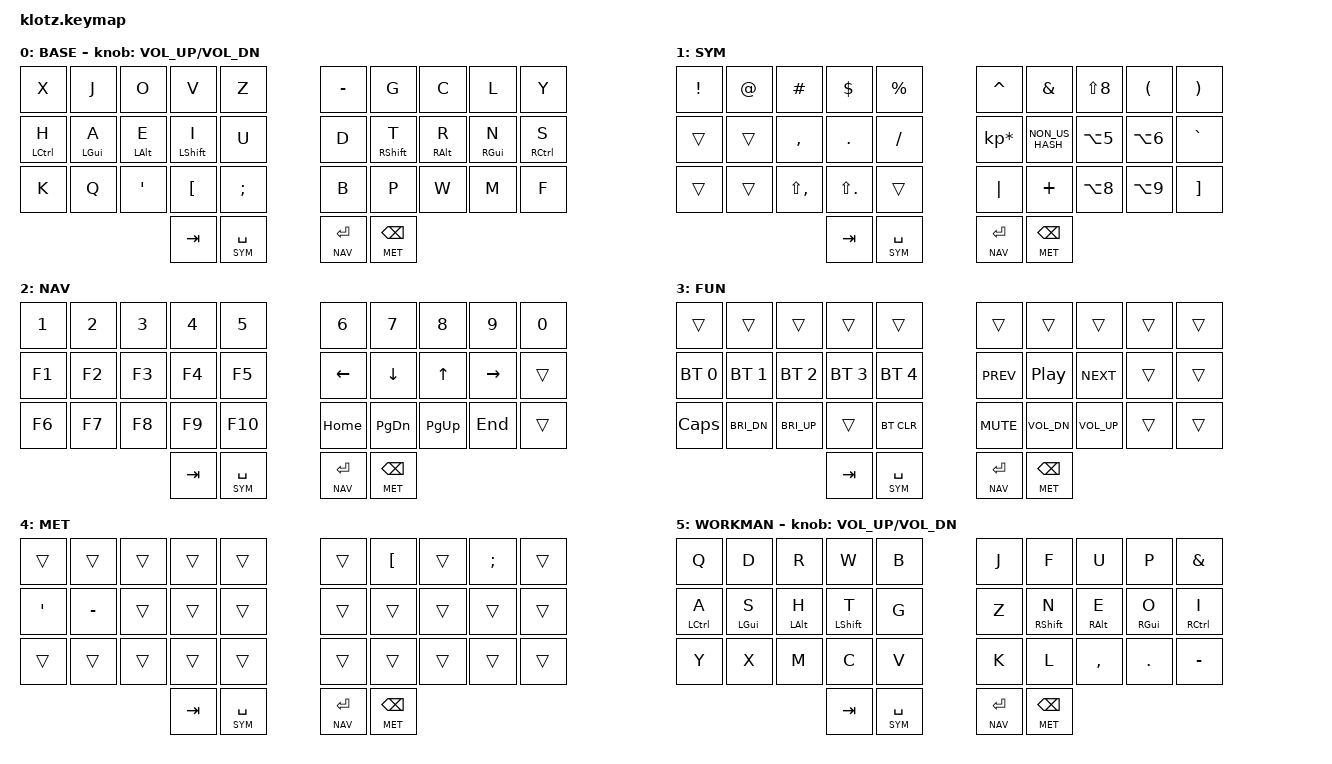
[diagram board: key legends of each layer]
//                                      █         ██        ▄▀▀▀▀▀▀▀▀▀▀█▀▀▀▀▀▀▀▀█▀▀▀▀▀▀▀▀▀▀█
//                                      █        █ █      ▄▀            ▀▄      █         █
//                                      █       █  █    ▄▀                ▀▄    █        █
//                                      █      █   █   █                    █   █       █
//                                      █     █    █   █                    █   █      █
//                                      █    █     █   █                    █   █  ▀▀▀█▀▀▀▀
//                                      █   █ █    █   █                    █   █    █
//                                      █  █   █   █   █                    █   █   █
//                                      █ █     █  █    ▀▄                ▄▀    █  █
//                                      ██       █ █      ▀▄            ▄▀      █ █
//                                      █         ██▄▄▄▄▄▄▄▄█▄▄▄▄▄▄▄▄▄▄▀        ██▄▄▄▄▄▄▄▄▄▄
//
// ▄▄▄▄▄▄▄▄▄▄▄▄▄▄▄▄▄▄▄▄▄▄▄▄▄▄▄▄▄▄▄▄▄▄▄▄▄▄▄▄▄▄▄▄▄▄▄▄▄▄▄▄▄▄▄▄▄▄▄▄▄▄▄▄▄▄▄▄▄▄▄▄▄▄▄▄▄▄▄▄▄▄▄▄▄▄▄▄▄▄▄▄▄▄▄▄▄▄▄▄▄▄▄▄▄▄▄▄▄▄▄▄▄▄▄▄▄▄▄▄▄▄▄▄▄
       

#include <behaviors.dtsi>
#include <dt-bindings/zmk/keys.h>
#include <dt-bindings/zmk/bt.h>
#include <dt-bindings/zmk/outputs.h>

#define DEF 0
#define SYM 1
#define NAV 2
#define FUN 3
#define MET 4
#define WORKMAN 5

//&mt {
//  quick-tap-ms = <100>;
//  global-quick-tap;
//  flavor = "tap-preferred";
//  tapping-term-ms = <170>;
//};
&mt {
    flavor = "hold-preferred";
    tapping-term-ms = <150>;
};

&lt {
    flavor = "balanced";
    tapping-term-ms = <150>;
};

/ {
    behaviors {
        am: alpha_mods {
            compatible = "zmk,behavior-hold-tap";
            label = "ALPHA_MT";
            #binding-cells = <2>;
            tapping-term-ms = <200>;
            quick-tap-ms = <150>;
            flavor = "balanced";
            bindings = <&kp>, <&kp>;
        };
        as: alpha_shift {
            compatible = "zmk,behavior-hold-tap";
            label = "ALPHA_SFT";
            #binding-cells = <2>;
            tapping-term-ms = <200>;
            quick-tap-ms = <150>;
            flavor = "balanced";
            bindings = <&kp>, <&kp>;
        };

        // Easy alt-tab with alt+backspace thumb using mod-morphs
        bstab: backspace_tab {
            compatible = "zmk,behavior-mod-morph";
            label = "BSPC_TAB";
            #binding-cells = <0>;
            bindings = <&kp BSPC>, <&kp TAB>;
            mods = <LALT>;
        };
        lt_bspc: layer_tap_backspace_tab {
            compatible = "zmk,behavior-hold-tap";
            label = "LT_BT";
            #binding-cells = <2>;
            tapping-term-ms = <150>;
            flavor = "balanced";
            bindings = <&mo>, <&bstab>;
        };
    };

    cond_layers {
        compatible = "zmk,conditional-layers";
        // Define FUN layer as tri-state
        func_tristate {
            if-layers = <NAV SYM>;
            then-layer = <FUN>;
        };
    };

    macros {
        ZMK_MACRO(inv_qm,
            wait-ms = <10>;
            tap-ms = <10>;
            bindings
                = <&macro_press &kp LALT>
                , <&macro_tap &kp KP_N1 &kp KP_N6 &kp KP_N8>
                , <&macro_release &kp LALT>;
        )
    };
     combos {
        compatible = "zmk,combos";
        combo_esc {
            timeout-ms = <40>;
            key-positions = <1 2>;
            bindings = <&kp ESC>;
        };
        combo_dot {
            timeout-ms = <40>;
            key-positions = <12 13>;
            bindings = <&kp DOT>;
        };
        combo_comma {
            timeout-ms = <40>;
            key-positions = <11 12>;
            bindings = <&kp COMMA>;
        };
        
    };
   

        keymap {
                compatible = "zmk,keymap";
// ▄▄▄▄▄▄▄▄▄▄▄▄▄▄▄▄▄▄▄▄▄▄▄▄▄▄▄▄▄▄▄▄▄▄▄▄▄▄▄▄▄▄▄▄▄▄▄▄▄▄▄▄▄▄▄▄▄▄▄▄▄▄▄▄▄▄▄▄▄▄▄▄▄▄▄▄▄▄▄▄▄▄▄▄▄▄▄▄▄▄▄▄▄▄▄▄▄▄▄▄▄▄▄▄▄▄▄▄▄▄▄▄▄▄▄▄▄▄▄▄▄▄▄▄▄


                base_layer {
// ┏━━━━━━━━━━━━━━━━━━━━━━━━━━━━━━━━━━━━━━━┓
label= "BASE"                              ;
// ┗━━━━━━━━━━━━━━━━━━━━━━━━━━━━━━━━━━━━━━━┛

 bindings = <
// ╭─────────────┬─────────────┬─────────────┬─────────────┬─────────────╮   ╭─────────────┬─────────────┬─────────────┬─────────────┬─────────────╮
        &kp X             &kp J      &kp O         &kp V        &kp Z             &kp MINUS    &kp G        &kp C         &kp L          &kp Y         
// ├─────────────┼─────────────┼─────────────┼─────────────┼─────────────┤   ├─────────────┼─────────────┼─────────────┼─────────────┼─────────────┤
      &am LCTRL H   &am LGUI A    &am LALT E    &as LSHFT I   &kp U             &kp D          &as RSHFT T   &am RALT R   &am RGUI N    &am RCTRL S   
// ├─────────────┼─────────────┼─────────────┼─────────────┼─────────────┤   ├─────────────┼─────────────┼─────────────┼─────────────┼─────────────┤
       &kp K         &kp Q         &kp SQT        &kp LBKT       &kp SEMI         &kp B          &kp P        &kp W           &kp M       &kp F      
// ╰─────────────┴─────────────┴─────────────┼─────────────┼─────────────┤   ├─────────────┼─────────────┼─────────────┴─────────────┴─────────────╯
                                              &kp TAB       &lt SYM SPACE     &lt NAV RET   &lt MET BSPC
//                                           ╰─────────────┴─────────────╯   ╰─────────────┴─────────────╯

                        >;               

            sensor-bindings = <&inc_dec_kp C_VOL_UP C_VOL_DN>;
            //sensor-bindings = <&inc_dec_kp  LEFT  RIGHT>;
     };

// ▄▄▄▄▄▄▄▄▄▄▄▄▄▄▄▄▄▄▄▄▄▄▄▄▄▄▄▄▄▄▄▄▄▄▄▄▄▄▄▄▄▄▄▄▄▄▄▄▄▄▄▄▄▄▄▄▄▄▄▄▄▄▄▄▄▄▄▄▄▄▄▄▄▄▄▄▄▄▄▄▄▄▄▄▄▄▄▄▄▄▄▄▄▄▄▄▄▄▄▄▄▄▄▄▄▄▄▄▄▄▄▄▄▄▄▄▄▄▄▄▄▄▄▄▄
    symbol_layer {
// -----------------------------------------------------------------------------------------
// |  |  !  |  "  |  §  |  $  |  %  |   |  & |  /  |  (  |  )  |  =  |    |
//    |     |     |     |     |     |   |  * |  #  |  [  |  ]   |  <  |   |
// |  |     |     |     |     |     |   | '  |  `  |  {  |  }   |  +  |  |
//        | ESC | TAB | SYM / SPC  |            | NAV / ENT | MET / BKSP  | DEL |
                    label = "SYM";
                    bindings = <
// ╭─────────────┬─────────────┬─────────────┬─────────────┬─────────────╮   ╭─────────────┬─────────────┬─────────────┬─────────────┬─────────────╮
        &kp EXCL      &kp AT        &kp HASH      &kp DLLR      &kp PRCNT         &kp CARET     &kp AMPS      &kp LS(N8)     &kp LPAR     &kp RPAR       
// ├─────────────┼─────────────┼─────────────┼─────────────┼─────────────┤   ├─────────────┼─────────────┼─────────────┼─────────────┼─────────────┤
           &trans        &trans        &kp COMMA        &kp DOT     &kp FSLH            &kp KP_MULTIPLY &kp NON_US_HASH &kp LA(N5) &kp LA(N6)  &kp GRAVE      
// ├─────────────┼─────────────┼─────────────┼─────────────┼─────────────┤   ├─────────────┼─────────────┼─────────────┼─────────────┼─────────────┤
        &trans        &trans        &kp LS(COMMA)     &kp LS(DOT)        &trans            &kp PIPE      &kp PLUS      &kp LA(N8)    &kp LA(N9)    &kp RBKT      
// ╰─────────────┴─────────────┴─────────────┼─────────────┼─────────────┤   ├─────────────┼─────────────┼─────────────┴─────────────┴─────────────╯
                                              &kp TAB       &lt SYM SPACE     &lt NAV RET   &lt MET BSPC
//                                           ╰─────────────┴─────────────╯   ╰─────────────┴─────────────╯
                     >;
                };

       navigation_layer {
// -----------------------------------------------------------------------------------------
// | |  1  |  2  |  3  |  4  |  5  |   |  6   |  7  | 8   |  9  |  0  |      |
// | | F1  | F2  | F3  | F4  | F5  |   | LFT  | DWN | UP  | RGT |     |      |
// | | F6  | F7  | F8  | F9  | F10 |   | home | PDN | PUP | END |     |      |
//        | ESC | TAB | SYM / SPC  |            | NAV / ENT | MET / BKSP  | DEL |
                    label = "NAV";
                    bindings = <
// ╭─────────────┬─────────────┬─────────────┬─────────────┬─────────────╮   ╭─────────────┬─────────────┬─────────────┬─────────────┬─────────────╮
           &kp N1        &kp N2        &kp N3        &kp N4         &kp N5           &kp N6        &kp N7        &kp N8        &kp N9         &kp N0       
// ├─────────────┼─────────────┼─────────────┼─────────────┼─────────────┤   ├─────────────┼─────────────┼─────────────┼─────────────┼─────────────┤
          &kp F1        &kp F2        &kp F3        &kp F4        &kp F5            &kp LEFT      &kp DOWN      &kp UP        &kp RIGHT     &trans        
// ├─────────────┼─────────────┼─────────────┼─────────────┼─────────────┤   ├─────────────┼─────────────┼─────────────┼─────────────┼─────────────┤
            &kp F6        &kp F7        &kp F8        &kp F9        &kp F10           &kp HOME      &kp PG_DN     &kp PG_UP     &kp END       &trans        
// ╰─────────────┴─────────────┴─────────────┼─────────────┼─────────────┤   ├─────────────┼─────────────┼─────────────┼─────────────┴─────────────╯
                                                              &kp TAB       &lt SYM SPACE     &lt NAV RET   &lt MET BSPC  
//                                                          ╰─────────────┴─────────────╯   ╰─────────────┴─────────────╯
                        >;
                };

                function_layer {
                    label = "FUN";
                    bindings = <
// ╭─────────────┬─────────────┬─────────────┬─────────────┬─────────────╮   ╭─────────────┬─────────────┬─────────────┬─────────────┬─────────────╮
      &trans        &trans        &trans        &trans        &trans         &trans           &trans        &trans       &trans        &trans        
// ├─────────────┼─────────────┼─────────────┼─────────────┼─────────────┤   ├─────────────┼─────────────┼─────────────┼─────────────┼─────────────┤
      &bt BT_SEL 0  &bt BT_SEL 1  &bt BT_SEL 2  &bt BT_SEL 3  &bt BT_SEL 4   &kp C_PREV       &kp C_PP      &kp C_NEXT  &trans        &trans        
// ├─────────────┼─────────────┼─────────────┼─────────────┼─────────────┤   ├─────────────┼─────────────┼─────────────┼─────────────┼─────────────┤
      &kp CAPS      &kp C_BRI_DN  &kp C_BRI_UP  &trans        &bt BT_CLR     &kp C_MUTE       &kp C_VOL_DN &kp C_VOL_UP    &trans        &trans        
// ╰─────────────┴─────────────┴─────────────┼─────────────┼─────────────┤   ├─────────────┼─────────────┼─────────────┼─────────────┴─────────────╯
                                                              &kp TAB       &lt SYM SPACE     &lt NAV RET   &lt MET BSPC  
//                                                          ╰─────────────┴─────────────╯   ╰─────────────┴─────────────╯
                       >;
                };
                metall_layer {
                    label = "MET";
                    bindings = <
// ╭─────────────┬─────────────┬─────────────┬─────────────┬─────────────╮   ╭─────────────┬─────────────┬─────────────┬─────────────┬─────────────╮
            &trans        &trans        &trans        &trans        &trans              &trans        &kp LBKT        &trans        &kp SEMI        &trans        
// ├─────────────┼─────────────┼─────────────┼─────────────┼─────────────┤   ├─────────────┼─────────────┼─────────────┼─────────────┼─────────────┤
            &kp SQT        &kp MINUS     &trans        &trans        &trans              &trans        &trans        &trans        &trans        &trans        
// ├─────────────┼─────────────┼─────────────┼─────────────┼─────────────┤   ├─────────────┼─────────────┼─────────────┼─────────────┼─────────────┤
        &trans        &trans        &trans        &trans        &trans              &trans        &trans        &trans        &trans        &trans        
// ╰─────────────┴─────────────┴─────────────┼─────────────┼─────────────┤   ├─────────────┼─────────────┼─────────────┼─────────────┴─────────────╯
                                                              &kp TAB       &lt SYM SPACE     &lt NAV RET   &lt MET BSPC  
//                                                          ╰─────────────┴─────────────╯   ╰─────────────┴─────────────╯
                       >;
                };


                workman_layer {
// ┏━━━━━━━━━━━━━━━━━━━━━━━━━━━━━━━━━━━━━━━┓
label= "WORKMAN"                              ;
// ┗━━━━━━━━━━━━━━━━━━━━━━━━━━━━━━━━━━━━━━━┛

 bindings = <
// ╭─────────────┬─────────────┬─────────────┬─────────────┬─────────────╮   ╭─────────────┬─────────────┬─────────────┬─────────────┬─────────────╮
        &kp Q             &kp D      &kp R         &kp W        &kp B             &kp J         &kp F        &kp U         &kp P         &kp AMPS          
// ├─────────────┼─────────────┼─────────────┼─────────────┼─────────────┤   ├─────────────┼─────────────┼─────────────┼─────────────┼─────────────┤
      &am LCTRL A   &am LGUI S    &am LALT H    &as LSHFT T   &kp G             &kp Z          &as RSHFT N   &am RALT E   &am RGUI O    &am RCTRL I   
// ├─────────────┼─────────────┼─────────────┼─────────────┼─────────────┤   ├─────────────┼─────────────┼─────────────┼─────────────┼─────────────┤
       &kp Y         &kp X         &kp M        &kp C       &kp V                &kp K          &kp L      &kp COMMA       &kp DOT       &kp MINUS     
// ╰─────────────┴─────────────┴─────────────┼─────────────┼─────────────┤   ├─────────────┼─────────────┼─────────────┴─────────────┴─────────────╯
                                              &kp TAB       &lt SYM SPACE     &lt NAV RET   &lt MET BSPC
//                                           ╰─────────────┴─────────────╯   ╰─────────────┴─────────────╯

                        >;               

            sensor-bindings = <&inc_dec_kp C_VOL_UP C_VOL_DN>;
            //sensor-bindings = <&inc_dec_kp  LEFT  RIGHT>;
     };

// ▄▄▄▄▄▄▄▄▄▄▄▄▄▄▄▄▄▄▄▄▄▄▄▄▄▄▄▄▄▄▄▄▄▄▄▄▄▄▄▄▄▄▄▄▄▄▄▄▄▄▄▄▄▄▄▄▄▄▄▄▄▄▄▄▄▄▄▄▄▄▄▄▄▄▄▄▄▄▄▄▄▄▄▄▄▄▄▄▄▄▄▄▄▄▄▄▄▄▄▄▄▄▄▄▄▄▄▄▄▄▄▄▄▄▄▄▄▄▄▄▄▄▄▄▄
                
        };
};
